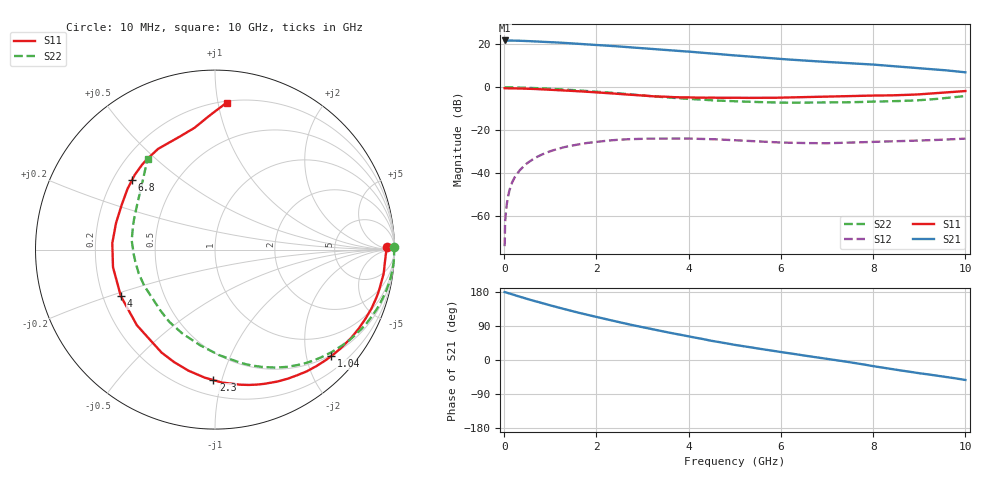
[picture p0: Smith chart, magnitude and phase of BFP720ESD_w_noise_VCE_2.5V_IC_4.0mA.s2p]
! Infineon Technologies  Discrete & RF Semiconductors
! BFP720ESD
! VCE =  2.5 V,  IC =  4.0 mA
! Common Emitter S-Parameters:  Jan 2016
# GHz  S  MA  R  50
!  f  S11  S21  S12  S22
! GHz  MAG  ANG  MAG  ANG  MAG  ANG  MAG  ANG
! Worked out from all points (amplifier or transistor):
!   233 points, 10 MHz to 10 GHz, reference 50 ohm
!   highest |S21| = 21.9 dB at 10 MHz (marker M1)
!   |S21| within 3 dB of that: start of sweep to 2.623 GHz
!   unconditionally stable (mu >= 1): 6.043 GHz to 9.464 GHz
!   at 200 MHz: K = 0.05, MSG = 32.4 dB, |S12| = -43.1 dB
!   at 1.74 GHz: K = 0.23, MSG = 23.1 dB, |S12| = -26.1 dB
!   at 10 GHz: K = 0.72, MSG = 15.4 dB, |S12| = -23.9 dB
!   lowest NFmin = 0.53 dB at 450 MHz
!   S11 on the Smith chart (normalised r, x): 10 MHz: 41, +13; 1.04 GHz: 0.48, -2.48; 2.3 GHz: 0.30, -0.94; 4 GHz: 0.27, -0.22; 6.8 GHz: 0.28, +0.34; 10 GHz: 0.21, +1.06
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0.01  0.9568 0.8  12.38 179.2  0.0002 -140.7  0.995 0.9
0.02  0.9533 -0.8  12.28 179.0  0.0007 78.9  0.9973 -0.3
0.06  0.9506 -2.4  12.26 177.4  0.002 90.3  0.9985 -1.6
0.19  0.949 -7.9  12.29 172.7  0.0067 84.1  0.9962 -5.5
0.36  0.9406 -15.0  12.16 166.4  0.0124 79.4  0.9883 -10.4
0.62  0.9202 -25.6  11.84 156.9  0.021 71.8  0.9681 -17.8
1.04  0.8778 -42.6  11.26 143.0  0.0336 60.3  0.924 -29.3
1.34  0.8435 -54.6  10.8 133.2  0.0413 52.5  0.886 -37.2
1.68  0.8034 -67.7  10.25 122.9  0.0485 44.2  0.8407 -45.7
1.92  0.775 -76.6  9.856 116.0  0.0527 39.0  0.8083 -51.5
2.3  0.7272 -90.7  9.26 105.3  0.0581 30.9  0.7535 -60.4
2.78  0.6686 -109.2  8.522 92.1  0.0625 21.3  0.681 -71.8
3.4  0.6087 -132.0  7.571 76.6  0.0642 10.8  0.5987 -85.4
4  0.5852 -153.7  6.812 62.2  0.0642 2.7  0.5387 -99.0
4.5  0.5767 -170.2  6.176 50.5  0.0623 -3.4  0.501 -111.5
5.1  0.5711 174.1  5.433 38.1  0.0582 -8.3  0.4711 -124.1
6  0.5766 154.3  4.591 21.0  0.0519 -10.7  0.4423 -142.1
6.8  0.6027 140.2  4.027 6.6  0.0502 -8.4  0.4427 -158.6
7.6  0.6299 127.1  3.604 -7.9  0.0521 -6.0  0.453 -176.2
8.4  0.6515 111.0  3.139 -23.8  0.0553 -6.4  0.4753 164.1
9  0.6883 99.5  2.802 -34.9  0.0578 -6.8  0.503 149.2
10  0.8213 85.4  2.244 -52.7  0.064 -9.2  0.6304 126.6
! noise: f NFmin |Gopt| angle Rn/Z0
0.45  0.53  0.54  6  0.16
0.9  0.56  0.53  13  0.17
1.9  0.61  0.47  34  0.15
2.4  0.66  0.44  41  0.16
5.5  0.91  0.2  122  0.09
10  1.66  0.57  -100  0.41
